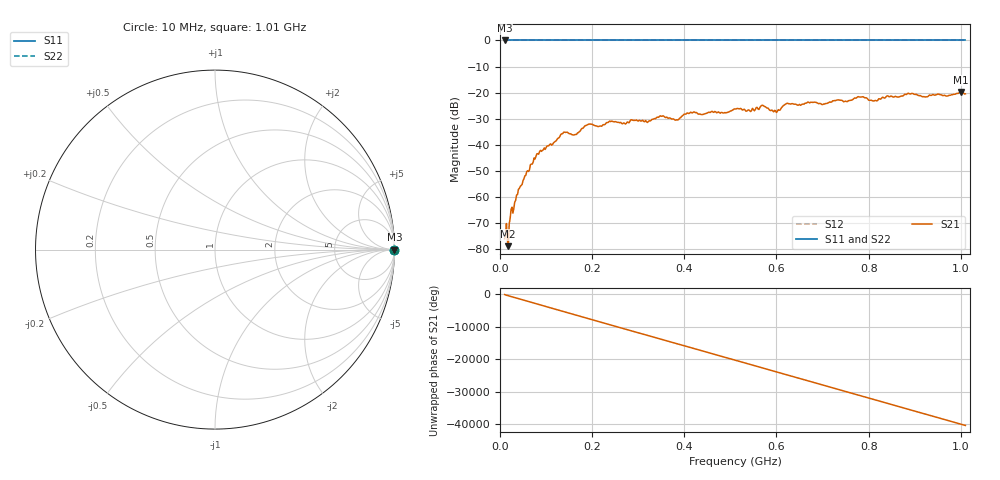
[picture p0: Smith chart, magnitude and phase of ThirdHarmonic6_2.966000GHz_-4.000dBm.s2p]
! 8/17/2025 8:22:56 AM
! C:\ANRITSUVNA\TEMP\TEMP.S2P
! CHANNEL.1
! TR.MEASUREMENT
! RAW.DATA
! RF.CORRECTION.OFF
! AVERAGING.OFF
! IF.BANDWIDTH: 5KHZ
! SWEEPTYPE:  FREQ.SWEEP(Linear)
! Reference Plane Port Info
! PORT:  PORT1  PORT2
! DISTANCE:  0  m  0  m
! TIME:  0  s  0  s
! PHASE.OFFSET:  0  deg.  0  deg.
! LOSS:  0  dB  0  dB
! REF.LOSS:  0  dB  0  dB
! REF.FREQ:  0  Hz  0  Hz
! Power Info
! POWER:  -20  dBm  -20  dBm
! EFF.POWER:  -20  dBm  -20  dBm
! SOURCE.ATTEN:  0  dB  0  dB
! TEST.ATTEN:  0  dB  0  dB
# GHZ S RI R 50.0
! FREQ.GHZ  S11RE  S11IM  S21RE  S21IM  S12RE  S12IM  S22RE  S22IM
!; PortSelection: Port_12
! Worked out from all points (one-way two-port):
!   501 points, 10 MHz to 1.01 GHz, reference 50 ohm
!   highest |S21| = -19.75 dB at 1 GHz (marker M1); lowest = -78.7 dB at 18 MHz (marker M2)
!   lowest |S11| = 0.0 dB at 10 MHz (marker M3)
!   |S11| at or under -10 dB: nowhere
!   |S22| runs from 0.0 to 0.0 dB; largest |S21 - S12| = 1.1
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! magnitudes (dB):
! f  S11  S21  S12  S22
! 10 MHz  0.0  -75.9  0.0  0.0
! 14 MHz  0.0  -70.1  0.0  0.0
! 18 MHz  0.0  -78.7  0.0  0.0
! 24 MHz  0.0  -64.7  0.0  0.0
! 40 MHz  0.0  -57.0  0.0  0.0
! 78 MHz  0.0  -44.4  0.0  0.0
! 136 MHz  0.0  -35.7  0.0  0.0
! 162 MHz  0.0  -36.1  0.0  0.0
! 178 MHz  0.0  -33.7  0.0  0.0
! 344 MHz  0.0  -29.4  0.0  0.0
! 384 MHz  0.0  -30.4  0.0  0.0
! 410 MHz  0.0  -28.0  0.0  0.0
! 510 MHz  0.0  -26.2  0.0  0.0
! 570 MHz  0.0  -24.8  0.0  0.0
! 598 MHz  0.0  -26.9  0.0  0.0
! 622 MHz  0.0  -24.1  0.0  0.0
! 678 MHz  0.0  -23.7  0.0  0.0
! 780 MHz  0.0  -21.6  0.0  0.0
! 814 MHz  0.0  -23.0  0.0  0.0
! 844 MHz  0.0  -21.5  0.0  0.0
! 1 GHz  0.0  -19.7  0.0  0.0
! 1.01 GHz  0.0  -20.4  0.0  0.0
